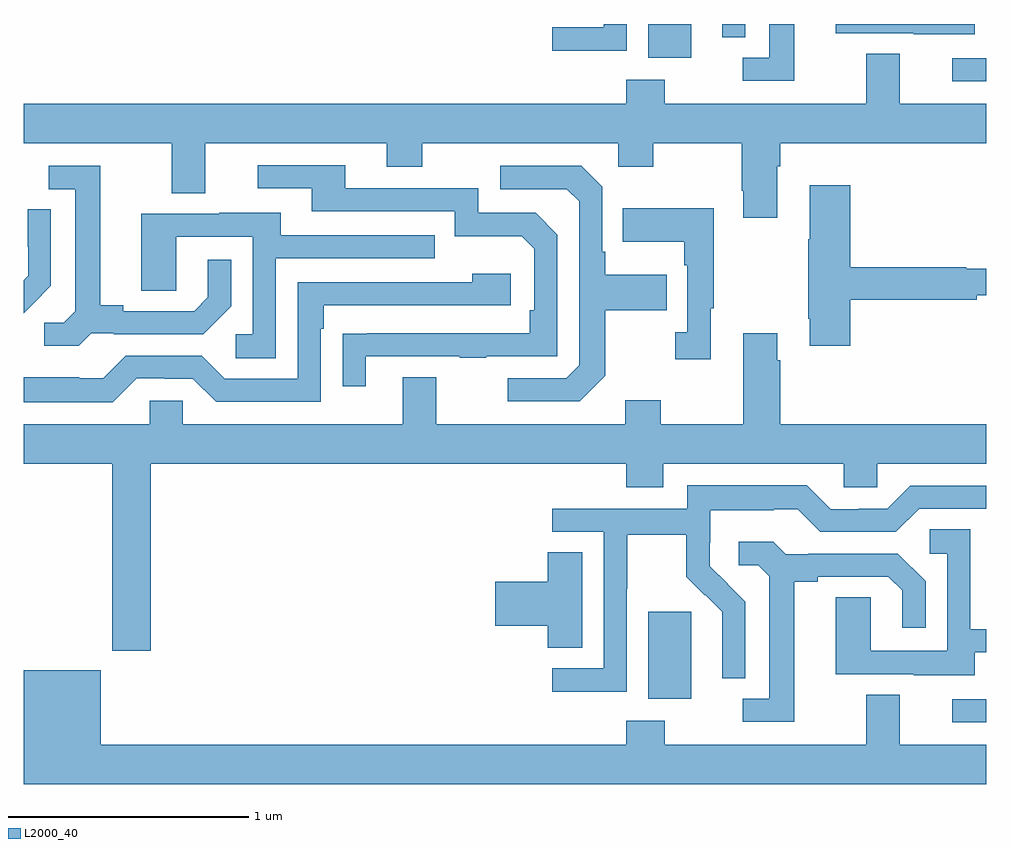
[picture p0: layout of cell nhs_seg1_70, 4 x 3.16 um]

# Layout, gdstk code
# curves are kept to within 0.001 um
import gdstk
lib = gdstk.Library(unit=1e-6, precision=1e-09)
def R(c, l, rs):  # rectangles x0, y0, x1, y1
    for r in rs: c.add(gdstk.rectangle(r[:2], r[2:], *l))
def P(c, l, *ps):  # polygons
    for p in ps: c.add(gdstk.Polygon(p, *l))
L2000_40 = (2000, 40)

nhs_seg1_70 = lib.new_cell('nhs_seg1_70')
R(nhs_seg1_70, L2000_40, [(116.859,577.296,117,577.392), (115.595,577.394,115.774,577.755), (116.859,579.96,117,580.056), (115.595,580.058,115.774,580.199), (115.902,580.144,115.998,580.199)])
P(nhs_seg1_70, L2000_40, [(115.506,580.199),(115.41,580.199),(115.41,580.185),(115.197,580.185),(115.197,580.087),(115.506,580.087)],
  [(116.203,580.199),(116.099,580.199),(116.099,580.059),(115.989,580.059),(115.989,579.963),(116.203,579.963)],
  [(116.953,580.199),(116.375,580.199),(116.375,580.161),(116.699,580.161),(116.699,580.157),(116.953,580.157)],
  [(116.131,579.608),(116.144,579.608),(116.144,579.704),(117,579.704),(117,579.868),(116.641,579.868),(116.641,580.076),(116.501,580.076),(116.501,579.868),(115.665,579.868),(115.665,579.967),(115.505,579.967),(115.505,579.868),(113,579.868),(113,579.704),(113.615,579.704),(113.615,579.496),(113.755,579.496),(113.755,579.704),(114.509,579.704),(114.509,579.605),(114.657,579.605),(114.657,579.704),(115.47,579.704),(115.47,579.605),(115.617,579.605),(115.617,579.704),(115.984,579.704),(115.984,579.505),(115.991,579.505),(115.991,579.393),(116.131,579.393)],
  [(114.421,578.817),(114.811,578.817),(114.811,578.812),(114.923,578.812),(114.923,578.817),(115.218,578.817),(115.218,579.324),(115.128,579.414),(114.888,579.414),(114.888,579.516),(114.337,579.516),(114.337,579.612),(113.973,579.612),(113.973,579.516),(114.197,579.516),(114.197,579.42),(114.792,579.42),(114.792,579.317),(115.069,579.317),(115.122,579.264),(115.122,579.01),(115.102,579.01),(115.102,578.913),(114.325,578.912),(114.325,578.694),(114.421,578.694)],
  [(115.417,578.737),(115.417,579.01),(115.673,579.01),(115.673,579.157),(115.417,579.157),(115.417,579.253),(115.404,579.253),(115.404,579.522),(115.317,579.609),(114.981,579.609),(114.981,579.513),(115.257,579.513),(115.308,579.462),(115.308,578.781),(115.254,578.727),(115.011,578.727),(115.011,578.631),(115.311,578.631)],
  [(113.28,578.913),(113.374,578.913),(113.374,578.91),(113.746,578.91),(113.862,579.026),(113.862,579.22),(113.765,579.22),(113.765,579.063),(113.708,579.006),(113.413,579.006),(113.413,579.029),(113.317,579.029),(113.317,579.609),(113.103,579.609),(113.103,579.513),(113.213,579.513),(113.213,579.005),(113.166,578.958),(113.085,578.958),(113.085,578.861),(113.228,578.861)],
  [(116.435,579.052),(116.96,579.052),(116.96,579.071),(117,579.071),(117,579.181),(116.918,579.181),(116.918,579.188),(116.435,579.188),(116.435,579.529),(116.267,579.529),(116.267,579.305),(116.26,579.305),(116.26,578.974),(116.267,578.974),(116.267,578.862),(116.435,578.862)],
  [(115.855,579.017),(115.867,579.017),(115.867,579.433),(115.489,579.433),(115.489,579.293),(115.746,579.293),(115.746,579.197),(115.758,579.197),(115.758,578.918),(115.707,578.918),(115.707,578.805),(115.855,578.805)],
  [(113.04,579.036),(113.039,579.037),(113.112,579.11),(113.112,579.428),(113.016,579.428),(113.016,579.274),(113.018,579.274),(113.018,579.152),(113,579.134),(113,578.996)],
  [(114.048,579.225),(114.707,579.225),(114.707,579.321),(114.067,579.321),(114.067,579.415),(113.813,579.415),(113.813,579.411),(113.489,579.411),(113.489,579.091),(113.634,579.091),(113.634,579.315),(113.952,579.315),(113.952,578.91),(113.88,578.91),(113.88,578.809),(114.048,578.809)],
  [(113.469,578.727),(113.585,578.727),(113.585,578.724),(113.703,578.724),(113.799,578.628),(114.234,578.628),(114.234,578.933),(114.247,578.933),(114.247,579.03),(115.024,579.03),(115.024,579.16),(114.863,579.16),(114.863,579.126),(114.138,579.126),(114.138,578.724),(113.835,578.724),(113.739,578.82),(113.424,578.82),(113.331,578.727),(113.231,578.727),(113.231,578.731),(113,578.731),(113,578.627),(113.369,578.627)],
  [(113.528,578.372),(115.505,578.372),(115.505,578.273),(115.657,578.273),(115.657,578.372),(116.409,578.372),(116.409,578.274),(116.547,578.274),(116.547,578.372),(117,578.372),(117,578.536),(116.144,578.536),(116.144,578.801),(116.131,578.801),(116.131,578.914),(115.991,578.914),(115.991,578.536),(115.647,578.536),(115.647,578.635),(115.499,578.635),(115.499,578.536),(114.715,578.536),(114.715,578.731),(114.575,578.731),(114.575,578.536),(113.661,578.536),(113.661,578.634),(113.523,578.634),(113.523,578.536),(113,578.536),(113,578.372),(113.368,578.372),(113.368,577.593),(113.528,577.593)],
  [(115.506,577.852),(115.509,577.852),(115.509,578.076),(115.753,578.076),(115.753,577.901),(115.83,577.824),(115.833,577.827),(115.904,577.757),(115.904,577.634),(115.902,577.634),(115.902,577.48),(115.998,577.48),(115.998,577.798),(115.852,577.946),(115.852,578.043),(115.854,578.043),(115.854,578.177),(116.117,578.177),(116.117,578.181),(116.217,578.181),(116.31,578.088),(116.625,578.088),(116.721,578.184),(117,578.184),(117,578.28),(116.685,578.28),(116.589,578.184),(116.471,578.184),(116.471,578.181),(116.355,578.181),(116.255,578.281),(115.758,578.281),(115.758,578.184),(115.197,578.184),(115.197,578.088),(115.41,578.088),(115.41,577.521),(115.197,577.521),(115.197,577.423),(115.506,577.423)],
  [(116.953,577.587),(117,577.587),(117,577.683),(116.934,577.683),(116.934,578.099),(116.766,578.099),(116.766,577.998),(116.838,577.998),(116.838,577.593),(116.52,577.593),(116.52,577.817),(116.375,577.817),(116.375,577.497),(116.699,577.497),(116.699,577.493),(116.953,577.493)],
  [(116.203,577.88),(116.299,577.88),(116.299,577.902),(116.594,577.902),(116.651,577.845),(116.651,577.689),(116.748,577.689),(116.748,577.882),(116.632,577.998),(116.26,577.998),(116.26,577.995),(116.166,577.995),(116.114,578.047),(115.971,578.047),(115.971,577.95),(116.052,577.95),(116.099,577.903),(116.099,577.395),(115.989,577.395),(115.989,577.299),(116.203,577.299)],
  [(115.321,578.003),(115.178,578.003),(115.178,577.88),(114.96,577.88),(114.96,577.697),(115.178,577.697),(115.178,577.606),(115.321,577.606)],
  [(117,577.204),(116.641,577.204),(116.641,577.412),(116.501,577.412),(116.501,577.204),(115.665,577.204),(115.665,577.303),(115.505,577.303),(115.505,577.204),(113.32,577.204),(113.32,577.513),(113,577.513),(113,577.04),(117,577.04)])

lib.write_gds('nhs_seg1_70.gds')
